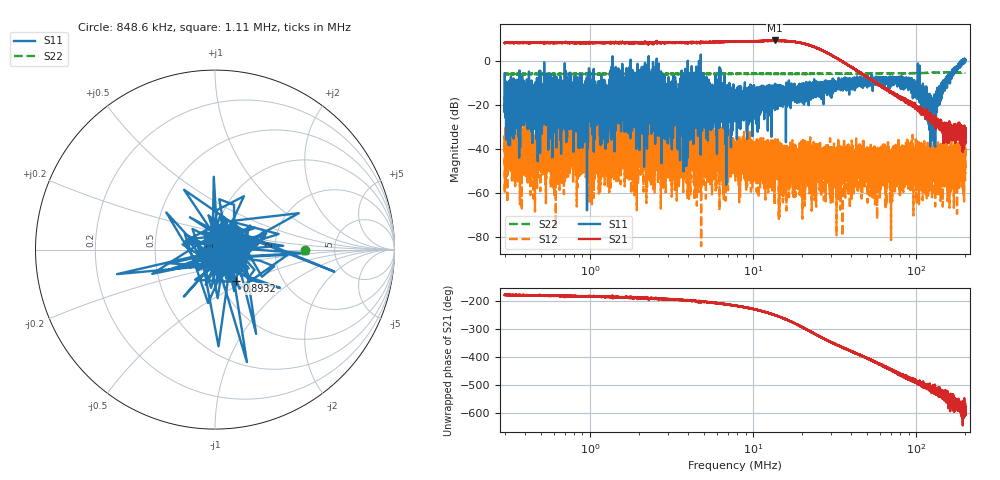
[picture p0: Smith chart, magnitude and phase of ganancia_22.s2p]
# Hz S DB R 50
! CMT, M5065, 19127446, 24.2.4/2
! Date: 11/1/2024 3:24:53 PM
! Data: Format (Calibration Info)
! Freq	S11:dB/Ang(F2)	S21:dB/Ang(F2)	S12:dB/Ang(F2)	S22:dB/Ang(F2)
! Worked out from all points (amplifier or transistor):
!   9000 points, 300 kHz to 200 MHz, reference 50 ohm
!   highest |S21| = 9.2 dB at 13.54 MHz (marker M1)
!   |S21| within 3 dB of that: start of sweep to 23.71 MHz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
!   unconditionally stable (mu >= 1): 2.567 MHz to 3.975 MHz; 4.781 MHz to 187.3 MHz; 190.2 MHz to 192.4 MHz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
!   at 886.8 kHz: K = 7.09, MAG = 10.1 dB, |S12| = -35.5 dB
!   at 7.749 MHz: K = 10.02, MAG = 10.0 dB, |S12| = -37.4 dB
!   at 200 MHz: K = 460.97, MAG = -20.6 dB, |S12| = -51.4 dB
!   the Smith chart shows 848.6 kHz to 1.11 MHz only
!   S11 on the Smith chart (normalised r, x): 848.6 kHz: 1.04, -0.01; 893.2 kHz: 1.19, -0.43; 1.11 MHz: 1.49, +0.15
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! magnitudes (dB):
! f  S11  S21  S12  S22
! 300 kHz  -19.9  8.2  -36.4  -6.0
! 310.8 kHz  -21.7  8.1  -52.1  -6.1
! 345.9 kHz  -14.5  8.3  -42.2  -6.0
! 459.1 kHz  -17.4  8.3  -38.9  -6.1
! 848.6 kHz  -33.2  8.2  -44.6  -6.0
! 886.8 kHz  -6.1  7.8  -35.5  -6.0
! 893.2 kHz  -13.5  8.1  -39.5  -6.0
! 1.11 MHz  -13.8  8.0  -34.8  -6.0
! 2.621 MHz  -27.4  8.2  -46.3  -6.0
! 3.184 MHz  -16.1  8.2  -50.8  -6.0
! 4.468 MHz  -17.3  8.2  -25.5  -6.0
! 7.749 MHz  -18.9  8.7  -37.4  -5.9
! 13.54 MHz  -11.5  9.2  -49.8  -6.0
! 22.91 MHz  -13.1  6.6  -44.9  -6.0
! 48.6 MHz  -9.4  -6.7  -46.8  -5.8
! 58.43 MHz  -9.7  -10.7  -44.9  -5.8
! 67.71 MHz  -7.7  -14.1  -44.3  -5.7
! 101.6 MHz  -17.1  -21.7  -42.7  -5.6
! 125.3 MHz  -19.2  -26.6  -40.7  -5.5
! 149.2 MHz  -9.7  -29.2  -57.1  -5.3
! 188.4 MHz  -0.3  -33.3  -44.7  -5.4
! 200 MHz  -0.3  -33.4  -51.4  -5.4
